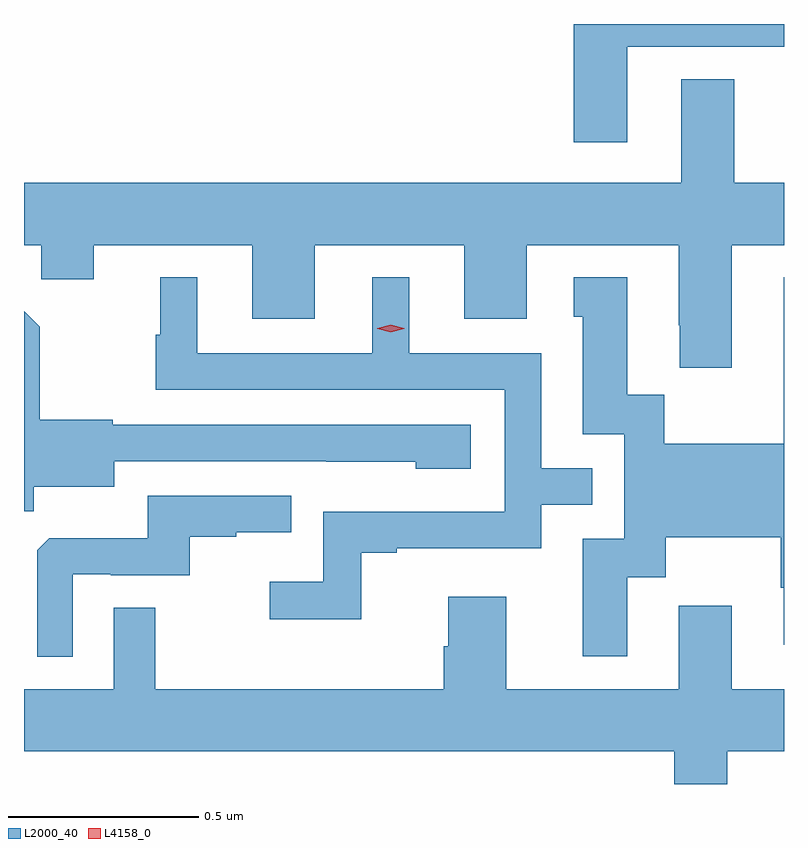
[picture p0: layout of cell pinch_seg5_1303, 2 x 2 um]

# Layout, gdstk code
import gdstk
lib = gdstk.Library(unit=1e-6, precision=1e-09)
def P(c, l, *ps):  # polygons
    for p in ps: c.add(gdstk.Polygon(p, *l))
L2000_40 = (2000, 40)
L4158_0 = (4158, 0)

pinch_seg5_1303 = lib.new_cell('pinch_seg5_1303')
P(pinch_seg5_1303, L2000_40, [(486.097,837.302),(486.51,837.302),(486.51,837.362),(485.957,837.362),(485.957,837.051),(486.097,837.051)],
  [(486.373,836.78),(486.51,836.78),(486.51,836.944),(486.379,836.944),(486.379,837.217),(486.239,837.217),(486.239,836.944),(484.51,836.944),(484.51,836.78),(484.555,836.78),(484.555,836.69),(484.693,836.69),(484.693,836.78),(485.111,836.78),(485.111,836.586),(485.275,836.586),(485.275,836.78),(485.669,836.78),(485.669,836.586),(485.833,836.586),(485.833,836.78),(486.233,836.78),(486.233,836.569),(486.236,836.569),(486.236,836.457),(486.373,836.457)],
  [(486.097,835.906),(486.199,835.906),(486.199,836.012),(486.502,836.012),(486.502,835.878),(486.509,835.878),(486.509,835.728),(486.51,835.728),(486.51,836.695),(486.509,836.695),(486.509,836.257),(486.195,836.257),(486.195,836.387),(486.097,836.387),(486.097,836.695),(485.957,836.695),(485.957,836.592),(485.981,836.592),(485.981,836.283),(486.09,836.283),(486.09,836.007),(485.981,836.007),(485.981,835.698),(486.097,835.698)],
  [(485.397,835.971),(485.491,835.971),(485.491,835.983),(485.871,835.983),(485.871,836.097),(486.005,836.097),(486.005,836.193),(485.871,836.193),(485.871,836.496),(485.524,836.496),(485.524,836.695),(485.426,836.695),(485.426,836.496),(484.966,836.496),(484.966,836.695),(484.868,836.695),(484.868,836.544),(484.857,836.544),(484.857,836.4),(485.775,836.4),(485.775,836.079),(485.298,836.079),(485.298,835.894),(485.157,835.894),(485.157,835.796),(485.397,835.796)],
  [(484.536,836.144),(484.747,836.144),(484.747,836.211),(485.305,836.211),(485.305,836.21),(485.541,836.21),(485.541,836.192),(485.686,836.192),(485.686,836.307),(484.743,836.307),(484.743,836.32),(484.551,836.32),(484.551,836.565),(484.51,836.606),(484.51,836.08),(484.536,836.08)],
  [(484.638,835.914),(484.738,835.914),(484.738,835.911),(484.946,835.911),(484.946,836.013),(485.069,836.013),(485.069,836.024),(485.213,836.024),(485.213,836.121),(484.836,836.121),(484.836,836.009),(484.577,836.009),(484.545,835.977),(484.545,835.697),(484.638,835.697)],
  [(486.361,835.448),(486.51,835.448),(486.51,835.612),(486.373,835.612),(486.373,835.831),(486.233,835.831),(486.233,835.612),(485.779,835.612),(485.779,835.855),(485.627,835.855),(485.627,835.725),(485.615,835.725),(485.615,835.612),(484.855,835.612),(484.855,835.826),(484.746,835.826),(484.746,835.612),(484.51,835.612),(484.51,835.448),(486.221,835.448),(486.221,835.362),(486.361,835.362)])
P(pinch_seg5_1303, L4158_0, [(485.475,836.551),(485.439,836.56),(485.439,836.561),(485.439,836.561),(485.475,836.571),(485.51,836.561),(485.511,836.561),(485.51,836.56)])

lib.write_gds('pinch_seg5_1303.gds')
